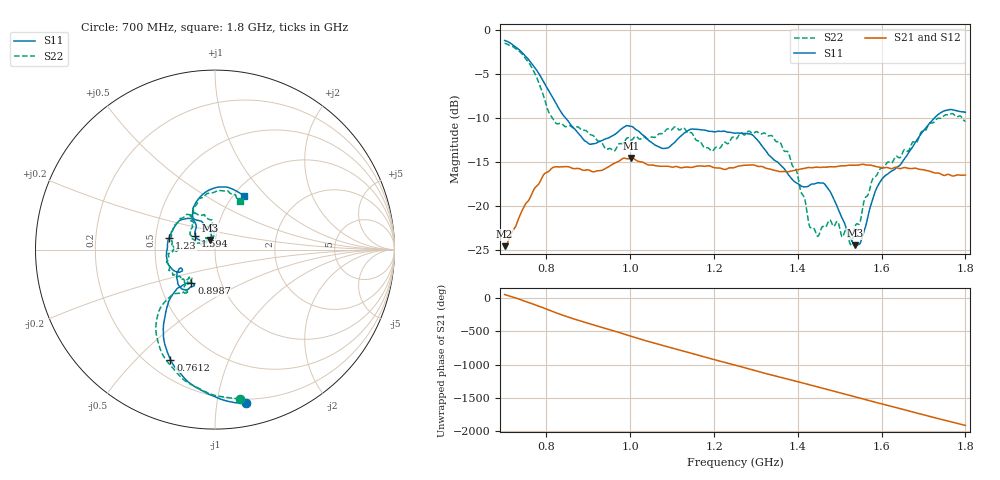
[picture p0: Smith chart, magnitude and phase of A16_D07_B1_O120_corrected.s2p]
! Created with skrf 1.9.0 (http://scikit-rf.org).
# Hz S RI R 50.0
!freq ReS11 ImS11 ReS21 ImS21 ReS12 ImS12 ReS22 ImS22
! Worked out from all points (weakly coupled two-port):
!   1601 points, 700 MHz to 1.8 GHz, reference 50 ohm
!   highest |S21| = -14.54 dB at 1.002 GHz (marker M1); lowest = -24.5 dB at 700 MHz (marker M2)
!   lowest |S11| = -24.5 dB at 1.537 GHz (marker M3), VSWR 1.13, Z = 47.1 + j5.07 ohm
!   |S11| at or under -10 dB: 846 MHz to 1.726 GHz (879.7 MHz wide, 68.4 % of centre)
!   |S22| runs from -24.4 to -1.5 dB; largest |S21 - S12| = 0.0035
!   S11 on the Smith chart (normalised r, x): 700 MHz: 0.17, -1.21; 761.2 MHz: 0.29, -0.63; 898.7 MHz: 0.72, -0.28; 1.23 GHz: 0.59, +0.08; 1.594 GHz: 0.79, +0.13; 1.8 GHz: 1.12, +0.76
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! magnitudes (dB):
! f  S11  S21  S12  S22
! 700 MHz  -1.2  -24.5  -24.3  -1.5
! 761.2 MHz  -3.6  -19.0  -18.9  -4.0
! 819.6 MHz  -8.0  -15.5  -15.6  -10.4
! 883.6 MHz  -12.1  -15.9  -15.7  -11.3
! 898.7 MHz  -12.8  -15.9  -15.9  -11.6
! 959.2 MHz  -12.0  -15.2  -15.2  -13.7
! 1.002 GHz  -10.9  -14.5  -14.6  -12.5
! 1.067 GHz  -13.2  -15.5  -15.4  -11.8
! 1.145 GHz  -11.2  -15.6  -15.6  -11.6
! 1.23 GHz  -11.6  -15.8  -15.7  -12.9
! 1.25 GHz  -11.7  -15.6  -15.5  -12.3
! 1.357 GHz  -15.3  -16.1  -16.0  -12.7
! 1.396 GHz  -17.3  -15.9  -15.9  -15.8
! 1.434 GHz  -17.5  -15.6  -15.6  -22.4
! 1.471 GHz  -18.0  -15.5  -15.5  -21.9
! 1.526 GHz  -23.6  -15.3  -15.3  -24.4
! 1.537 GHz  -24.5  -15.3  -15.4  -22.3
! 1.551 GHz  -23.9  -15.3  -15.3  -21.2
! 1.594 GHz  -17.4  -15.6  -15.6  -15.9
! 1.617 GHz  -16.2  -15.7  -15.6  -15.0
! 1.735 GHz  -9.6  -16.2  -16.3  -10.0
! 1.8 GHz  -9.3  -16.5  -16.5  -10.3
